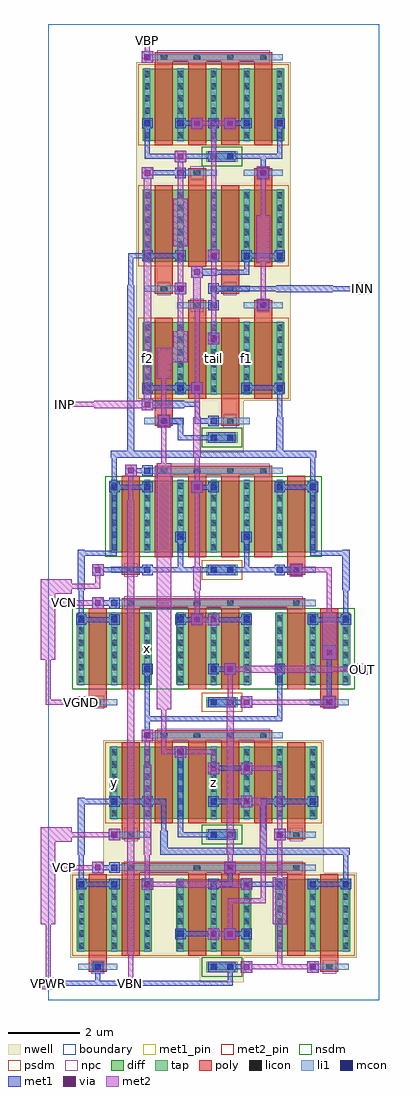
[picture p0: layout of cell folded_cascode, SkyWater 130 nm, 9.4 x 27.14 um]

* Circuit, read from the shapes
.subckt folded_cascode INN INP OUT VBN VBP VCN VCP VGND VPWR f1 f2 tail x y z
XM1 f1 VGND f1 VGND sky130_fd_pr__nfet_01v8 w=2 l=0.5 m=4
XM2 x VCN f1 VGND sky130_fd_pr__nfet_01v8 w=2 l=0.5 m=2
XM3 VGND VBN f1 VGND sky130_fd_pr__nfet_01v8 w=2 l=0.5 m=2
XM4 OUT VCN f2 VGND sky130_fd_pr__nfet_01v8 w=2 l=0.5 m=2
XM5 f2 VBN VGND VGND sky130_fd_pr__nfet_01v8 w=2 l=0.5 m=2
XM6 y VPWR y VPWR sky130_fd_pr__pfet_01v8 w=2 l=0.5 m=4
XM7 x VCP y VPWR sky130_fd_pr__pfet_01v8 w=2 l=0.5 m=2
XM8 VPWR x y VPWR sky130_fd_pr__pfet_01v8 w=2 l=0.5 m=2
XM9 f2 VPWR f2 VPWR sky130_fd_pr__pfet_01v8 w=2 l=0.5 m=2
XM10 f1 VPWR f1 VPWR sky130_fd_pr__pfet_01v8 w=2 l=0.5 m=2
XM11 tail VBP VPWR VPWR sky130_fd_pr__pfet_01v8 w=2 l=0.5 m=4
XM12 OUT VCP z VPWR sky130_fd_pr__pfet_01v8 w=2 l=0.5 m=2
XM13 z x VPWR VPWR sky130_fd_pr__pfet_01v8 w=2 l=0.5 m=2
XM14 tail INN f2 VPWR sky130_fd_pr__pfet_01v8 w=2 l=0.5 m=2
XM15 tail INP f1 VPWR sky130_fd_pr__pfet_01v8 w=2 l=0.5 m=2
.ends

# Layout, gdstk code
import gdstk
lib = gdstk.Library(unit=1e-6, precision=1e-09)
def R(c, l, rs):  # rectangles x0, y0, x1, y1
    for r in rs: c.add(gdstk.rectangle(r[:2], r[2:], *l))
def A(c, l, x, y, w, h, nx, ny, dx, dy):  # array of equal rectangles
    R(c, l, [(x+i*dx, y+j*dy, x+i*dx+w, y+j*dy+h) for i in range(nx) for j in range(ny)])
nwell = (64, 20)
diff = (65, 20)
tap = (65, 44)
poly = (66, 20)
licon = (66, 44)
li1 = (67, 20)
mcon = (67, 44)
met1_pin = (68, 16)
met1 = (68, 20)
via = (68, 44)
met2_pin = (69, 16)
met2 = (69, 20)
nsdm = (93, 44)
psdm = (94, 20)
npc = (95, 20)
boundary = (235, 4)

folded_cascode = lib.new_cell('folded_cascode')
R(folded_cascode, nwell, [(4.215,0.5,5.445,1.18), (0.615,1.18,8.585,3.54), (1.535,3.54,7.665,7.22), (4.215,15.22,5.445,16.665), (2.455,16.665,6.745,26.08)])
A(folded_cascode, diff, 0.795, 1.36, 2.09, 2, 3, 2, 2.76, 7.405)
R(folded_cascode, diff, [(1.715,5.04,7.485,7.04), (1.715,12.445,7.485,14.445), (2.635,16.845,6.565,18.845), (2.635,20.525,6.565,22.525), (2.635,23.9,6.565,25.9)])
A(folded_cascode, tap, 4.395, 0.775, 0.87, 0.29, 1, 5, 0, 3.68)
R(folded_cascode, tap, [(4.395,23.315,5.265,23.605)])
A(folded_cascode, poly, 2.97, 4.91, 0.5, 2.45, 4, 2, 0.92, 18.86)
A(folded_cascode, poly, 2.97, 12.315, 0.5, 2.405, 4, 1, 0.92, 0)
R(folded_cascode, poly, [(1.13,0.785,1.63,1.055), (7.57,0.785,8.07,1.055), (1.13,0.92,1.63,3.49), (7.57,0.92,8.07,3.49), (2.05,1.23,2.55,3.68), (3.89,1.23,4.39,3.68), (4.81,1.23,5.31,3.68), (6.65,1.23,7.15,3.68), (2.05,3.545,7.15,3.815), (2.05,4.465,2.55,4.735), (6.65,4.465,7.15,4.735), (2.05,4.6,2.55,7.17), (6.65,4.6,7.15,7.17), (2.97,7.225,6.23,7.495), (1.13,8.145,1.63,8.415), (7.57,8.145,8.07,8.415), (1.13,8.28,1.63,10.895), (7.57,8.28,8.07,10.895), (2.05,8.635,2.55,11.04), (3.89,8.635,4.39,11.04), (4.81,8.635,5.31,11.04), (6.65,8.635,7.15,11.04), (2.05,10.905,7.15,11.175), (2.05,11.825,2.55,12.095), (6.65,11.825,7.15,12.095), (2.05,11.96,2.55,14.575), (6.65,11.96,7.15,14.575), (2.97,14.585,6.23,14.855), (2.97,15.965,3.47,16.235), (4.81,15.965,5.31,16.235), (2.97,16.1,3.47,18.975), (4.81,16.1,5.31,18.975), (3.89,16.715,4.39,19.32), (5.73,16.715,6.23,19.32), (3.89,19.185,4.39,19.455), (5.73,19.185,6.23,19.455), (2.97,19.645,3.47,19.915), (4.81,19.645,5.31,19.915), (2.97,19.78,3.47,22.655), (4.81,19.78,5.31,22.655), (3.89,20.395,4.39,23), (5.73,20.395,6.23,23), (3.89,22.865,4.39,23.135), (5.73,22.865,6.23,23.135), (2.97,26.085,6.23,26.355)])
A(folded_cascode, licon, 4.515, 0.835, 0.17, 0.17, 1, 5, 0, 3.68)
A(folded_cascode, licon, 0.835, 1.425, 0.17, 0.17, 9, 6, 0.92, 0.34)
A(folded_cascode, licon, 1.755, 5.105, 0.17, 0.17, 7, 6, 0.92, 0.34)
A(folded_cascode, licon, 3.135, 7.275, 0.17, 0.17, 4, 2, 0.92, 7.36)
A(folded_cascode, licon, 0.835, 8.83, 0.17, 0.17, 9, 6, 0.92, 0.34)
A(folded_cascode, licon, 1.755, 12.51, 0.17, 0.17, 7, 6, 0.92, 0.34)
A(folded_cascode, licon, 4.975, 16.015, 0.17, 0.17, 1, 3, 0, 3.68)
A(folded_cascode, licon, 2.675, 16.91, 0.17, 0.17, 5, 6, 0.92, 0.34)
A(folded_cascode, licon, 2.675, 20.59, 0.17, 0.17, 5, 6, 0.92, 0.34)
A(folded_cascode, licon, 2.675, 23.965, 0.17, 0.17, 5, 6, 0.92, 0.34)
A(folded_cascode, licon, 3.135, 26.135, 0.17, 0.17, 4, 1, 0.92, 0)
R(folded_cascode, licon, [(1.295,0.835,1.465,1.005), (4.975,0.835,5.145,1.005), (7.735,0.835,7.905,1.005), (2.215,3.595,2.385,3.765), (4.055,3.595,4.225,3.765), (4.975,3.595,5.145,3.765), (6.815,3.595,6.985,3.765), (2.215,4.515,2.385,4.685), (4.975,4.515,5.145,4.685), (6.815,4.515,6.985,4.685), (1.295,8.195,1.465,8.365), (4.975,8.195,5.145,8.365), (7.735,8.195,7.905,8.365), (2.215,10.955,2.385,11.125), (4.055,10.955,4.225,11.125), (4.975,10.955,5.145,11.125), (6.815,10.955,6.985,11.125), (2.215,11.875,2.385,12.045), (4.975,11.875,5.145,12.045), (6.815,11.875,6.985,12.045), (4.975,15.555,5.145,15.725), (3.135,16.015,3.305,16.185), (4.055,19.235,4.225,19.405), (5.895,19.235,6.065,19.405), (3.135,19.695,3.305,19.865), (4.055,22.915,4.225,23.085), (5.895,22.915,6.065,23.085), (4.515,23.375,4.685,23.545)])
A(folded_cascode, li1, 4.435, 0.835, 0.79, 0.17, 1, 5, 0, 3.68)
A(folded_cascode, li1, 0.835, 1.345, 0.17, 2.03, 9, 2, 0.92, 7.405)
A(folded_cascode, li1, 1.755, 5.025, 0.17, 2.03, 7, 2, 0.92, 7.405)
A(folded_cascode, li1, 2.675, 16.83, 0.17, 2.03, 5, 2, 0.92, 3.68)
A(folded_cascode, li1, 2.675, 23.885, 0.17, 2.03, 5, 1, 0.92, 0)
R(folded_cascode, li1, [(0.835,0.835,1.925,1.005), (7.275,0.835,8.365,1.005), (1.755,3.595,7.445,3.765), (1.755,4.515,2.845,4.685), (6.355,4.515,7.445,4.685), (2.675,7.275,6.525,7.445), (0.835,8.195,1.925,8.365), (7.275,8.195,8.365,8.365), (1.755,10.955,7.445,11.125), (1.755,11.875,2.845,12.045), (6.355,11.875,7.445,12.045), (2.675,14.635,6.525,14.805), (2.675,16.015,3.765,16.185), (4.515,16.015,5.605,16.185), (3.595,19.235,4.685,19.405), (5.435,19.235,6.525,19.405), (2.675,19.695,3.765,19.865), (4.515,19.695,5.605,19.865), (3.595,22.915,4.685,23.085), (5.435,22.915,6.525,23.085), (4.435,23.375,5.225,23.545), (2.675,26.135,6.525,26.305)])
A(folded_cascode, mcon, 4.975, 0.835, 0.17, 0.17, 1, 5, 0, 3.68)
A(folded_cascode, mcon, 0.835, 3.135, 0.17, 0.17, 3, 1, 0.92, 0)
A(folded_cascode, mcon, 6.355, 3.135, 0.17, 0.17, 3, 1, 0.92, 0)
A(folded_cascode, mcon, 1.755, 3.595, 0.17, 0.17, 1, 3, 0, 0.92)
A(folded_cascode, mcon, 4.515, 4.515, 0.17, 0.17, 1, 4, 0, 3.68)
A(folded_cascode, mcon, 2.675, 5.435, 0.17, 0.17, 3, 2, 1.84, 3.68)
A(folded_cascode, mcon, 1.755, 10.495, 0.17, 0.17, 4, 1, 1.84, 0)
A(folded_cascode, mcon, 2.675, 14.175, 0.17, 0.17, 3, 1, 1.84, 0)
A(folded_cascode, mcon, 2.675, 20.615, 0.17, 0.17, 5, 2, 0.92, 3.68)
R(folded_cascode, mcon, [(1.295,0.835,1.465,1.005), (4.515,0.835,4.685,1.005), (7.275,0.835,7.445,1.005), (3.595,1.755,3.765,1.925), (5.435,1.755,5.605,1.925), (4.515,3.135,4.685,3.305), (6.355,4.515,6.525,4.685), (7.275,5.435,7.445,5.605), (5.435,6.355,5.605,6.525), (3.595,6.815,3.765,6.985), (2.675,7.275,2.845,7.445), (0.835,8.195,1.005,8.365), (7.735,8.195,7.905,8.365), (0.835,10.495,1.005,10.665), (8.195,10.495,8.365,10.665), (1.755,10.955,1.925,11.125), (2.675,11.875,2.845,12.045), (6.355,11.875,6.525,12.045), (3.595,12.795,3.765,12.965), (5.435,12.795,5.605,12.965), (1.755,14.175,1.925,14.345), (7.275,14.175,7.445,14.345), (2.675,14.635,2.845,14.805), (3.135,16.015,3.305,16.185), (4.515,16.015,4.685,16.185), (2.675,16.935,2.845,17.105), (3.595,16.935,3.765,17.105), (5.435,16.935,5.605,17.105), (6.355,16.935,6.525,17.105), (4.515,18.315,4.685,18.485), (4.515,19.235,4.685,19.405), (5.895,19.235,6.065,19.405), (3.595,19.695,3.765,19.865), (4.515,19.695,4.685,19.865), (3.595,22.915,3.765,23.085), (5.895,22.915,6.065,23.085), (4.515,23.375,4.685,23.545), (4.975,23.375,5.145,23.545), (2.675,26.135,2.845,26.305)])
R(folded_cascode, met1_pin, [(-0.16,0.3,0.16,0.62), (0.775,8.135,1.065,8.425)])
A(folded_cascode, met1, 5.36, 0.76, 0.32, 0.32, 1, 3, 0, 2.3)
A(folded_cascode, met1, 4.455, 0.775, 0.75, 0.29, 1, 5, 0, 3.68)
A(folded_cascode, met1, 0.775, 3.075, 0.29, 0.29, 3, 1, 0.92, 0)
A(folded_cascode, met1, 6.295, 3.075, 0.29, 0.29, 3, 1, 0.92, 0)
A(folded_cascode, met1, 1.695, 3.535, 0.29, 0.29, 1, 3, 0, 0.92)
A(folded_cascode, met1, 2.615, 5.375, 0.29, 0.29, 3, 2, 1.84, 3.68)
A(folded_cascode, met1, 1.695, 10.435, 0.29, 0.29, 4, 1, 1.84, 0)
A(folded_cascode, met1, 2.615, 14.115, 0.29, 0.29, 3, 1, 1.84, 0)
A(folded_cascode, met1, 2.615, 20.555, 0.29, 0.29, 5, 2, 0.92, 3.68)
A(folded_cascode, met1, 2.69, 23.39, 0.14, 1.06, 3, 1, 1.84, 0)
R(folded_cascode, met1, [(-0.16,0.3,0.16,0.62), (-0.07,0.39,1.45,0.53), (1.31,0.39,5.13,0.53), (1.31,0.39,1.45,0.99), (4.99,0.39,5.13,0.99), (7.2,0.76,7.52,1.08), (1.235,0.775,1.525,1.065), (7.215,0.775,7.505,1.065), (4.99,0.85,5.59,0.99), (4.99,0.85,5.13,0.99), (4.44,1.68,4.76,2), (4.9,1.68,5.22,2), (3.535,1.695,3.825,1.985), (5.375,1.695,5.665,1.985), (3.61,1.77,4.67,1.91), (4.99,1.77,5.59,1.91), (2.6,3.06,2.92,3.38), (4.455,3.075,4.745,3.365), (0.85,3.15,1.91,3.29), (0.85,3.15,0.99,4.21), (4.53,3.15,5.13,3.29), (4.99,3.15,5.13,3.75), (5.45,3.15,6.51,3.29), (7.29,3.15,8.35,3.29), (8.21,3.15,8.35,4.21), (1.22,3.52,1.54,3.84), (4.9,3.52,5.22,3.84), (1.31,3.61,1.91,3.75), (0.82,4.04,1.02,5.62), (3.12,4.04,6.08,4.24), (3.12,4.04,3.32,4.7), (5.88,4.04,6.08,4.7), (5.88,4.04,8.38,4.24), (1.68,4.44,2,4.76), (6.28,4.44,6.6,4.76), (6.295,4.455,6.585,4.745), (3.15,4.53,3.29,5.59), (3.61,4.53,4.67,4.67), (3.61,4.53,3.75,6.97), (4.53,4.53,4.67,4.67), (5.91,4.53,6.05,5.59), (7.215,5.375,7.505,5.665), (0.85,5.45,1.91,5.59), (1.77,5.45,2.83,5.59), (2.69,5.45,3.29,5.59), (4.53,5.45,5.59,5.59), (5.91,5.45,6.51,5.59), (6.37,5.45,7.43,5.59), (4.44,6.28,4.76,6.6), (5.36,6.28,5.68,6.6), (5.375,6.295,5.665,6.585), (4.53,6.37,5.59,6.51), (3.52,6.74,3.84,7.06), (3.535,6.755,3.825,7.045), (2.6,7.2,2.92,7.52), (2.615,7.215,2.905,7.505), (2.69,7.29,2.83,9.27), (2.69,7.75,6.51,7.89), (6.37,7.75,6.51,9.27), (0.76,8.12,1.08,8.44), (5.36,8.12,5.68,8.44), (7.66,8.12,7.98,8.44), (0.775,8.135,1.065,8.425), (7.675,8.135,7.965,8.425), (4.99,8.21,5.59,8.35), (4.99,8.21,5.13,8.35), (7.75,8.21,7.89,9.73), (4.9,9.04,5.22,9.36), (4.53,9.13,5.13,9.27), (7.62,9.46,8.02,9.86), (3.98,10.42,4.3,10.74), (4.44,10.42,4.76,10.74), (0.775,10.435,1.065,10.725), (8.135,10.435,8.425,10.725), (0.85,10.51,1.91,10.65), (0.85,10.51,0.99,11.57), (3.61,10.51,4.21,10.65), (4.53,10.51,5.59,10.65), (7.29,10.51,8.35,10.65), (8.21,10.51,8.35,11.57), (1.22,10.88,1.54,11.2), (1.695,10.895,1.985,11.185), (1.31,10.97,1.91,11.11), (0.82,11.4,1.02,12.52), (8.18,11.4,8.38,12.52), (1.22,11.8,1.54,12.12), (6.74,11.8,7.06,12.12), (2.615,11.815,2.905,12.105), (6.295,11.815,6.585,12.105), (1.31,11.89,2.83,12.03), (2.69,11.89,3.75,12.03), (3.61,11.89,5.13,12.03), (3.61,11.89,3.75,12.95), (4.99,11.89,5.59,12.03), (4.99,11.89,5.13,12.03), (5.45,11.89,6.51,12.03), (5.45,11.89,5.59,12.95), (6.37,11.89,6.97,12.03), (0.85,12.35,1.91,12.49), (1.77,12.35,1.91,14.33), (7.29,12.35,7.43,14.33), (7.29,12.35,8.35,12.49), (3.535,12.735,3.825,13.025), (5.375,12.735,5.665,13.025), (3.98,14.1,4.3,14.42), (1.695,14.115,1.985,14.405), (7.215,14.115,7.505,14.405), (1.77,14.19,2.83,14.33), (1.77,14.19,1.91,15.25), (4.07,14.19,4.67,14.33), (6.37,14.19,7.43,14.33), (7.29,14.19,7.43,15.25), (2.14,14.56,2.46,14.88), (2.615,14.575,2.905,14.865), (2.23,14.65,2.83,14.79), (1.74,15.08,6.54,15.28), (2.2,15.08,2.4,19.88), (6.34,15.08,6.54,16.2), (6.34,15.08,7.46,15.28), (3.61,15.57,4.67,15.71), (3.61,15.57,3.75,16.17), (4.53,15.57,4.67,15.71), (3.06,15.94,3.38,16.26), (3.075,15.955,3.365,16.245), (4.455,15.955,4.745,16.245), (3.15,16.03,3.75,16.17), (4.07,16.03,4.67,16.17), (4.07,16.03,4.21,16.63), (6.37,16.03,6.51,17.09), (2.6,16.4,2.92,16.72), (2.66,16.46,3.78,16.66), (3.61,16.49,4.21,16.63), (3.98,16.86,4.3,17.18), (2.615,16.875,2.905,17.165), (3.535,16.875,3.825,17.165), (5.375,16.875,5.665,17.165), (6.295,16.875,6.585,17.165), (2.69,16.95,3.75,17.09), (3.61,16.95,4.21,17.09), (5.45,16.95,6.51,17.09), (4.44,18.24,4.76,18.56), (4.455,18.255,4.745,18.545), (5.82,19.16,6.14,19.48), (4.455,19.175,4.745,19.465), (5.835,19.175,6.125,19.465), (4.53,19.25,4.67,19.85), (3.52,19.62,3.84,19.94), (8.58,19.62,8.9,19.94), (3.535,19.635,3.825,19.925), (4.455,19.635,4.745,19.925), (6.34,19.68,7.92,19.88), (2.23,19.71,2.37,20.77), (4.53,19.71,6.51,19.85), (7.75,19.71,8.81,19.85), (3.98,20.08,4.3,20.4), (4.04,20.14,4.7,20.34), (4.53,20.17,5.59,20.31), (5.45,20.17,5.59,20.77), (4.44,20.54,4.76,20.86), (2.23,20.63,2.83,20.77), (2.69,20.63,3.75,20.77), (5.45,20.63,6.51,20.77), (2.6,22.84,2.92,23.16), (5.82,22.84,6.14,23.16), (3.535,22.855,3.825,23.145), (5.835,22.855,6.125,23.145), (2.69,22.93,3.75,23.07), (5.91,22.93,6.05,23.53), (3.52,23.3,3.84,23.62), (4.455,23.315,5.205,23.605), (2.69,23.39,4.67,23.53), (4.53,23.39,6.05,23.53), (4.53,23.39,4.67,23.53), (5.91,23.39,6.51,23.53), (3.98,24.22,4.3,24.54), (4.9,24.22,5.22,24.54), (3.61,24.31,4.21,24.45), (4.99,24.31,5.59,24.45), (2.6,26.06,2.92,26.38), (2.615,26.075,2.905,26.365)])
A(folded_cascode, via, 5.445, 0.845, 0.15, 0.15, 1, 3, 0, 2.3)
R(folded_cascode, via, [(-0.075,0.385,0.075,0.535), (7.285,0.845,7.435,0.995), (4.525,1.765,4.675,1.915), (4.985,1.765,5.135,1.915), (2.685,3.145,2.835,3.295), (1.305,3.605,1.455,3.755), (4.985,3.605,5.135,3.755), (1.765,4.525,1.915,4.675), (6.365,4.525,6.515,4.675), (4.525,6.365,4.675,6.515), (5.445,6.365,5.595,6.515), (3.605,6.825,3.755,6.975), (2.685,7.285,2.835,7.435), (0.845,8.205,0.995,8.355), (5.445,8.205,5.595,8.355), (7.745,8.205,7.895,8.355), (4.985,9.125,5.135,9.275), (7.745,9.585,7.895,9.735), (4.065,10.505,4.215,10.655), (4.525,10.505,4.675,10.655), (1.305,10.965,1.455,11.115), (1.305,11.885,1.455,12.035), (6.825,11.885,6.975,12.035), (4.065,14.185,4.215,14.335), (2.225,14.645,2.375,14.795), (3.145,16.025,3.295,16.175), (2.685,16.485,2.835,16.635), (4.065,16.945,4.215,17.095), (4.525,18.325,4.675,18.475), (5.905,19.245,6.055,19.395), (3.605,19.705,3.755,19.855), (8.665,19.705,8.815,19.855), (4.065,20.165,4.215,20.315), (4.525,20.625,4.675,20.775), (2.685,22.925,2.835,23.075), (5.905,22.925,6.055,23.075), (3.605,23.385,3.755,23.535), (4.065,24.305,4.215,24.455), (4.985,24.305,5.135,24.455), (2.685,26.145,2.835,26.295)])
R(folded_cascode, met2_pin, [(2.15,0.31,2.45,0.61), (0.39,3.61,0.53,3.75), (8.59,9.05,8.89,9.35), (0.39,10.97,0.53,11.11), (0.31,16.41,0.61,16.71), (8.59,19.63,8.89,19.93), (2.61,26.53,2.91,26.83)])
A(folded_cascode, met2, 5.36, 0.76, 0.32, 0.32, 1, 3, 0, 2.3)
R(folded_cascode, met2, [(-0.16,0.3,0.16,0.62), (2.15,0.31,2.45,0.61), (-0.07,0.39,0.07,2.37), (2.23,0.39,2.37,0.53), (2.23,0.39,2.37,1.45), (7.2,0.76,7.52,1.08), (5.45,0.85,6.51,0.99), (6.37,0.85,7.43,0.99), (6.37,0.85,6.51,2.37), (2.2,1.28,2.4,13.9), (4.44,1.68,4.76,2), (4.9,1.68,5.22,2), (4.53,1.77,5.13,1.91), (4.99,1.77,5.13,2.83), (-0.2,2.1,0.2,4.8), (6.24,2.1,6.64,3.42), (4.99,2.69,6.05,2.83), (5.91,2.69,6.05,4.21), (2.6,3.06,2.92,3.38), (3.58,3.12,5.62,3.32), (2.69,3.15,3.75,3.29), (2.69,3.15,2.83,4.21), (6.37,3.15,6.51,4.67), (1.22,3.52,1.54,3.84), (4.9,3.52,5.22,3.84), (0.39,3.61,1.45,3.75), (0.39,3.61,0.53,3.75), (4.99,3.61,5.13,4.21), (2.66,4.04,2.86,6.54), (4.96,4.04,5.16,8.38), (5.88,4.04,6.08,5.62), (-0.2,4.4,0.66,4.8), (1.68,4.44,2,4.76), (6.28,4.44,6.6,4.76), (0.39,4.53,1.91,4.67), (6.37,4.53,6.51,6.51), (5.42,5.42,6.08,5.62), (4.44,6.28,4.76,6.6), (5.36,6.28,5.68,6.6), (2.69,6.37,2.83,7.43), (4.53,6.37,4.67,6.97), (5.45,6.37,6.51,6.51), (3.52,6.74,3.84,7.06), (3.15,6.83,3.75,6.97), (3.15,6.83,3.29,8.35), (3.61,6.83,4.67,6.97), (2.6,7.2,2.92,7.52), (3.02,8.08,3.42,14.92), (0.76,8.12,1.08,8.44), (5.36,8.12,5.68,8.44), (7.66,8.12,7.98,8.44), (-0.07,8.21,0.99,8.35), (-0.07,8.21,0.07,9.73), (4.99,8.21,5.13,9.27), (5.45,8.21,7.89,8.35), (4.9,9.04,5.22,9.36), (8.59,9.05,8.89,9.35), (5.42,9.1,7.92,9.3), (4.99,9.13,5.59,9.27), (7.75,9.13,8.81,9.27), (8.67,9.13,8.81,9.27), (-0.2,9.46,0.2,11.7), (7.62,9.46,8.02,10.78), (7.62,9.46,8.02,9.86), (3.98,10.42,4.3,10.74), (4.44,10.42,4.76,10.74), (4.07,10.51,4.67,10.65), (4.07,10.51,4.21,11.57), (7.75,10.51,7.89,12.03), (1.22,10.88,1.54,11.2), (0.39,10.97,1.45,11.11), (0.39,10.97,0.53,11.11), (-0.2,11.3,0.66,11.7), (4.04,11.4,4.24,12.06), (0.39,11.43,1.45,11.57), (1.31,11.43,1.45,12.03), (1.22,11.8,1.54,12.12), (6.74,11.8,7.06,12.12), (4.07,11.89,4.21,14.33), (6.83,11.89,7.89,12.03), (2.23,13.73,2.37,14.79), (3.98,14.1,4.3,14.42), (4.07,14.19,4.21,15.25), (2.14,14.56,2.46,14.88), (3.15,14.65,3.29,16.17), (4.04,15.08,4.24,16.2), (3.06,15.94,3.38,16.26), (3.15,16.03,3.29,17.55), (4.07,16.03,4.21,17.09), (2.6,16.4,2.92,16.72), (0.31,16.41,0.61,16.71), (1.28,16.46,2.86,16.66), (2.66,16.46,2.86,23.1), (0.39,16.49,1.45,16.63), (0.39,16.49,0.53,16.63), (3.98,16.86,4.3,17.18), (4.07,16.95,4.21,19.39), (3.02,17.28,3.42,18.14), (3.02,17.74,3.88,18.14), (3.48,17.74,3.88,18.6), (4.44,18.24,4.76,18.56), (3.61,18.33,3.75,19.85), (4.53,18.33,4.67,20.77), (5.82,19.16,6.14,19.48), (4.04,19.22,4.24,20.34), (5.91,19.25,6.05,20.77), (3.52,19.62,3.84,19.94), (8.58,19.62,8.9,19.94), (8.59,19.63,8.89,19.93), (3.61,19.71,3.75,21.23), (8.67,19.71,8.81,19.85), (3.98,20.08,4.3,20.4), (5.78,20.5,6.18,21.82), (4.44,20.54,4.76,20.86), (4.53,20.63,4.67,24.45), (3.48,20.96,3.88,22.28), (5.91,21.55,6.05,23.07), (3.61,22.01,3.75,23.53), (2.6,22.84,2.92,23.16), (5.82,22.84,6.14,23.16), (3.52,23.3,3.84,23.62), (3.98,24.22,4.3,24.54), (4.9,24.22,5.22,24.54), (4.07,24.31,4.67,24.45), (4.53,24.31,5.13,24.45), (2.6,26.06,2.92,26.38), (2.69,26.15,2.83,26.75), (2.61,26.53,2.91,26.83), (2.69,26.61,2.83,26.75)])
R(folded_cascode, nsdm, [(4.27,0.65,5.39,1.19), (4.27,4.33,5.39,4.87), (0.67,8.64,8.53,10.89), (1.59,12.32,7.61,14.57), (4.27,15.37,5.39,15.91), (4.27,23.19,5.39,23.73)])
R(folded_cascode, psdm, [(0.67,1.235,8.53,3.485), (1.59,4.915,7.61,7.165), (4.27,8.01,5.39,8.55), (4.27,11.69,5.39,12.23), (2.51,16.72,6.69,18.97), (2.51,20.4,6.69,22.65), (2.51,23.775,6.69,26.025)])
R(folded_cascode, npc, [(1.195,0.735,1.565,1.105), (7.635,0.735,8.005,1.105), (2.115,3.495,7.085,3.865), (2.115,4.415,2.485,4.785), (6.715,4.415,7.085,4.785), (3.035,7.175,6.165,7.545), (1.195,8.095,1.565,8.465), (7.635,8.095,8.005,8.465), (2.115,10.855,7.085,11.225), (2.115,11.775,2.485,12.145), (6.715,11.775,7.085,12.145), (3.035,14.535,6.165,14.905), (3.035,15.915,3.405,16.285), (4.875,15.915,5.245,16.285), (3.955,19.135,4.325,19.505), (5.795,19.135,6.165,19.505), (3.035,19.595,3.405,19.965), (4.875,19.595,5.245,19.965), (3.955,22.815,4.325,23.185), (5.795,22.815,6.165,23.185), (3.035,26.035,6.165,26.405)])
R(folded_cascode, boundary, [(0,0,9.2,27.14)])
folded_cascode.add(gdstk.Label('f2', (2.76,17.845), layer=67, texttype=5))
folded_cascode.add(gdstk.Label('tail', (4.6,17.845), layer=67, texttype=5))
folded_cascode.add(gdstk.Label('f1', (5.52,17.845), layer=67, texttype=5))
folded_cascode.add(gdstk.Label('x', (2.76,9.765), layer=67, texttype=5))
folded_cascode.add(gdstk.Label('y', (1.84,6.04), layer=67, texttype=5))
folded_cascode.add(gdstk.Label('z', (4.6,6.04), layer=67, texttype=5))
folded_cascode.add(gdstk.Label('VPWR', (0,0.46), layer=68, texttype=5))
folded_cascode.add(gdstk.Label('VGND', (0.92,8.28), layer=68, texttype=5))
folded_cascode.add(gdstk.Label('INP', (0.46,16.56), layer=69, texttype=5))
folded_cascode.add(gdstk.Label('INN', (8.74,19.78), layer=69, texttype=5))
folded_cascode.add(gdstk.Label('VBP', (2.76,26.68), layer=69, texttype=5))
folded_cascode.add(gdstk.Label('VBN', (2.3,0.46), layer=69, texttype=5))
folded_cascode.add(gdstk.Label('VCN', (0.46,11.04), layer=69, texttype=5))
folded_cascode.add(gdstk.Label('VCP', (0.46,3.68), layer=69, texttype=5))
folded_cascode.add(gdstk.Label('OUT', (8.74,9.2), layer=69, texttype=5))
folded_cascode.add(gdstk.Label('VPWR', (0,0.46), layer=68, texttype=16))
folded_cascode.add(gdstk.Label('VGND', (0.92,8.28), layer=68, texttype=16))
folded_cascode.add(gdstk.Label('INP', (0.46,16.56), layer=69, texttype=16))
folded_cascode.add(gdstk.Label('INN', (8.74,19.78), layer=69, texttype=16))
folded_cascode.add(gdstk.Label('VBP', (2.76,26.68), layer=69, texttype=16))
folded_cascode.add(gdstk.Label('VBN', (2.3,0.46), layer=69, texttype=16))
folded_cascode.add(gdstk.Label('VCN', (0.46,11.04), layer=69, texttype=16))
folded_cascode.add(gdstk.Label('VCP', (0.46,3.68), layer=69, texttype=16))
folded_cascode.add(gdstk.Label('OUT', (8.74,9.2), layer=69, texttype=16))

lib.write_gds('folded_cascode.gds')
